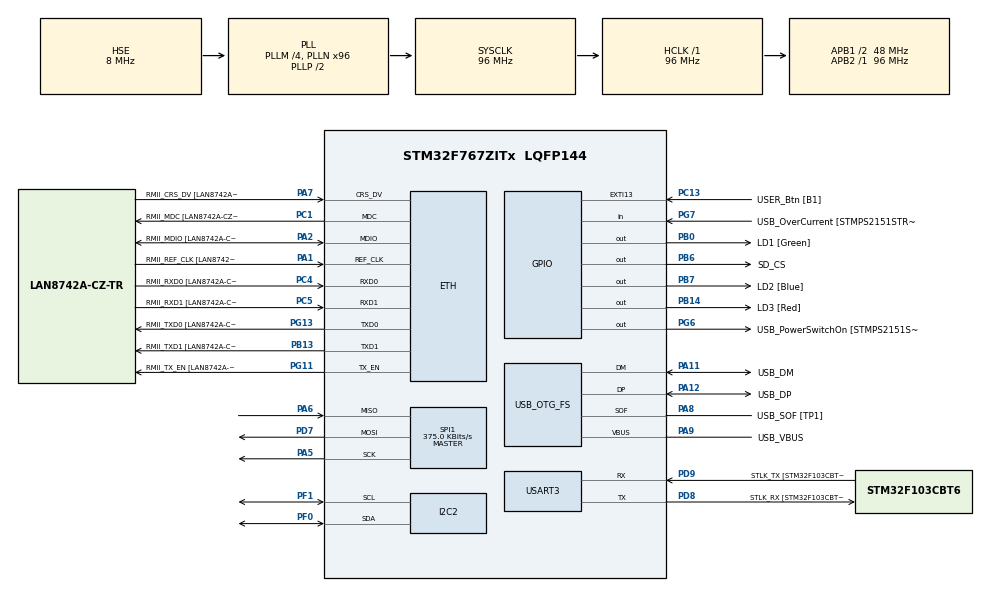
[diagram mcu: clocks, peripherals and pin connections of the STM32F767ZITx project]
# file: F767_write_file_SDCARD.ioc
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CORTEX_M7.default_mode_Activation=1
ETH.MediaInterface=HAL_ETH_RMII_MODE
ETH.PHY_Name=LAN8742A_PHY_ADDRESS
ETH.PHY_Value=0
ETH.PhyAddress=0
I2C2.Timing=0x20303E5D
Mcu.Family=STM32F7
Mcu.Name=STM32F767ZITx
Mcu.Package=LQFP144
NVIC.PriorityGroup=NVIC_PRIORITYGROUP_4
PA1.GPIO_Label=RMII_REF_CLK [LAN8742A-CZ-TR_REFCLK0]
PA1.Mode=RMII
PA1.Signal=ETH_REF_CLK
PA10.GPIO_Label=USB_ID
PA10.Signal=USB_OTG_FS_ID
PA11.GPIO_Label=USB_DM
PA11.Mode=Device_Only
PA11.Signal=USB_OTG_FS_DM
PA12.GPIO_Label=USB_DP
PA12.Mode=Device_Only
PA12.Signal=USB_OTG_FS_DP
PA13.GPIO_Label=TMS
PA13.Mode=Serial_Wire
PA13.Signal=SYS_JTMS-SWDIO
PA14.GPIO_Label=TCK
PA14.Mode=Serial_Wire
PA14.Signal=SYS_JTCK-SWCLK
PA2.GPIO_Label=RMII_MDIO [LAN8742A-CZ-TR_MDIO]
PA2.Mode=RMII
PA2.Signal=ETH_MDIO
PA5.Mode=Full_Duplex_Master
PA5.Signal=SPI1_SCK
PA6.Mode=Full_Duplex_Master
PA6.Signal=SPI1_MISO
PA7.GPIO_Label=RMII_CRS_DV [LAN8742A-CZ-TR_CRS_DV]
PA7.Mode=RMII
PA7.Signal=ETH_CRS_DV
PA8.GPIO_Label=USB_SOF [TP1]
PA8.Mode=Activate_SOF_FS
PA8.Signal=USB_OTG_FS_SOF
PA9.GPIO_Label=USB_VBUS
PA9.Mode=Activate_VBUS
PA9.Signal=USB_OTG_FS_VBUS
PB0.GPIO_Label=LD1 [Green]
PB0.Signal=GPIO_Output
PB13.GPIO_Label=RMII_TXD1 [LAN8742A-CZ-TR_TXD1]
PB13.Mode=RMII
PB13.Signal=ETH_TXD1
PB14.GPIO_Label=LD3 [Red]
PB14.Signal=GPIO_Output
PB3.GPIO_Label=SWO
PB3.Signal=SYS_JTDO-SWO
PB6.GPIO_Label=SD_CS
PB6.PinState=GPIO_PIN_SET
PB6.Signal=GPIO_Output
PB7.GPIO_Label=LD2 [Blue]
PB7.Signal=GPIO_Output
PC1.GPIO_Label=RMII_MDC [LAN8742A-CZ-TR_MDC]
PC1.Mode=RMII
PC1.Signal=ETH_MDC
PC13.GPIO_Label=USER_Btn [B1]
PC13.Signal=GPXTI13
PC14/OSC32_IN.Mode=LSE-External-Oscillator
PC14/OSC32_IN.Signal=RCC_OSC32_IN
PC15/OSC32_OUT.Mode=LSE-External-Oscillator
PC15/OSC32_OUT.Signal=RCC_OSC32_OUT
PC4.GPIO_Label=RMII_RXD0 [LAN8742A-CZ-TR_RXD0]
PC4.Mode=RMII
PC4.Signal=ETH_RXD0
PC5.GPIO_Label=RMII_RXD1 [LAN8742A-CZ-TR_RXD1]
PC5.Mode=RMII
PC5.Signal=ETH_RXD1
PD7.Mode=Full_Duplex_Master
PD7.Signal=SPI1_MOSI
PD8.GPIO_Label=STLK_RX [STM32F103CBT6_PA3]
PD8.Mode=Asynchronous
PD8.Signal=USART3_TX
PD9.GPIO_Label=STLK_TX [STM32F103CBT6_PA2]
PD9.Mode=Asynchronous
PD9.Signal=USART3_RX
PF0.Mode=I2C
PF0.Signal=I2C2_SDA
PF1.Mode=I2C
PF1.Signal=I2C2_SCL
PG11.GPIO_Label=RMII_TX_EN [LAN8742A-CZ-TR_TXEN]
PG11.Mode=RMII
PG11.Signal=ETH_TX_EN
PG13.GPIO_Label=RMII_TXD0 [LAN8742A-CZ-TR_TXD0]
PG13.Mode=RMII
PG13.Signal=ETH_TXD0
PG6.GPIO_Label=USB_PowerSwitchOn [STMPS2151STR_EN]
PG6.Signal=GPIO_Output
PG7.GPIO_Label=USB_OverCurrent [STMPS2151STR_FAULT]
PG7.Signal=GPIO_Input
PH0/OSC_IN.GPIO_Label=MCO [STM32F103CBT6_PA8]
PH0/OSC_IN.Mode=HSE-External-Clock-Source
PH0/OSC_IN.Signal=RCC_OSC_IN
PH1/OSC_OUT.Mode=HSE-External-Clock-Source
PH1/OSC_OUT.Signal=RCC_OSC_OUT
ProjectManager.HeapSize=0x200
ProjectManager.StackSize=0x400
ProjectManager.TargetToolchain=STM32CubeIDE
RCC.48MHZClocksFreq_Value=24000000
RCC.AHBFreq_Value=96000000
RCC.APB1CLKDivider=RCC_HCLK_DIV2
RCC.APB1Freq_Value=48000000
RCC.APB1TimFreq_Value=96000000
RCC.APB2Freq_Value=96000000
RCC.APB2TimFreq_Value=96000000
RCC.CortexFreq_Value=96000000
RCC.HCLKFreq_Value=96000000
RCC.HSE_VALUE=8000000
RCC.HSI_VALUE=16000000
RCC.PLLM=4
RCC.PLLMUL=RCC_PLL_MUL9
RCC.PLLN=96
RCC.PLLQ=4
RCC.PRESCALERUSB=RCC_USBCLKSOURCE_PLL_DIV1_5
RCC.SYSCLKFreq_VALUE=96000000
RCC.SYSCLKSource=RCC_SYSCLKSOURCE_PLLCLK
RCC.SYSCLKSourceVirtual=RCC_SYSCLKSOURCE_PLLCLK
RCC.USBFreq_Value=48000000
RCC.VCOOutputFreq_Value=192000000
SPI1.BaudRatePrescaler=SPI_BAUDRATEPRESCALER_256
SPI1.CalculateBaudRate=375.0 KBits/s
SPI1.DataSize=SPI_DATASIZE_8BIT
SPI1.Direction=SPI_DIRECTION_2LINES
SPI1.Mode=SPI_MODE_MASTER
SPI1.VirtualType=VM_MASTER
USART3.VirtualMode-Asynchronous=VM_ASYNC
USB_OTG_FS.VirtualMode=Device_Only
VP_FATFS_VS_Generic.Mode=User_defined
board=NUCLEO-F767ZI

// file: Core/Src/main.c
/* USER CODE BEGIN Header */
/* F767_write_file_SDCARD */
/**
  ******************************************************************************
  * @file           : main.c
  * @brief          : Main program body
  ******************************************************************************
  * @attention
  *
  * Copyright (c) 2026 STMicroelectronics.
  * All rights reserved.
  *
  * This software is licensed under terms that can be found in the LICENSE file
  * in the root directory of this software component.
  * If no LICENSE file comes with this software, it is provided AS-IS.
  *
  ******************************************************************************
  */
/* USER CODE END Header */
#include "main.h"
#include "string.h"
#include "fatfs.h"

/* USER CODE BEGIN Includes */
#include "fatfs.h"
#include <stdio.h>
#include <string.h>
#include <stdint.h>
/* USER CODE END Includes */

#if defined ( __ICCARM__ ) /*!< IAR Compiler */
#pragma location=0x2007c000
ETH_DMADescTypeDef  DMARxDscrTab[ETH_RX_DESC_CNT]; /* Ethernet Rx DMA Descriptors */
#pragma location=0x2007c0a0
ETH_DMADescTypeDef  DMATxDscrTab[ETH_TX_DESC_CNT]; /* Ethernet Tx DMA Descriptors */

#elif defined ( __CC_ARM )  /* MDK ARM Compiler */

__attribute__((at(0x2007c000))) ETH_DMADescTypeDef  DMARxDscrTab[ETH_RX_DESC_CNT]; /* Ethernet Rx DMA Descriptors */
__attribute__((at(0x2007c0a0))) ETH_DMADescTypeDef  DMATxDscrTab[ETH_TX_DESC_CNT]; /* Ethernet Tx DMA Descriptors */

#elif defined ( __GNUC__ ) /* GNU Compiler */

ETH_DMADescTypeDef DMARxDscrTab[ETH_RX_DESC_CNT] __attribute__((section(".RxDecripSection"))); /* Ethernet Rx DMA Descriptors */
ETH_DMADescTypeDef DMATxDscrTab[ETH_TX_DESC_CNT] __attribute__((section(".TxDecripSection")));   /* Ethernet Tx DMA Descriptors */
#endif

ETH_TxPacketConfig TxConfig;

ETH_HandleTypeDef heth;

I2C_HandleTypeDef hi2c2;

SPI_HandleTypeDef hspi1;

UART_HandleTypeDef huart3;

PCD_HandleTypeDef hpcd_USB_OTG_FS;

/* USER CODE BEGIN PV */
FATFS fs;
FIL file;
FRESULT fres;

char uart_msg[128];
char csv_line[128];

uint32_t log_index = 0;
uint32_t last_write_time = 0;
/* USER CODE END PV */

void SystemClock_Config(void);
static void MPU_Config(void);
static void MX_GPIO_Init(void);
static void MX_ETH_Init(void);
static void MX_I2C2_Init(void);
static void MX_SPI1_Init(void);
static void MX_USART3_UART_Init(void);
static void MX_USB_OTG_FS_PCD_Init(void);
/* USER CODE BEGIN PFP */
void UART3_Print(char *msg);
void SD_Test_Write(void);
/* USER CODE END PFP */

int main(void)
{

  /* MPU Configuration--------------------------------------------------------*/
  MPU_Config();

  /* MCU Configuration--------------------------------------------------------*/

  /* Reset of all peripherals, Initializes the Flash interface and the Systick. */
  HAL_Init();

  /* Configure the system clock */
  SystemClock_Config();

  /* Initialize all configured peripherals */
  MX_GPIO_Init();
  MX_ETH_Init();
  MX_I2C2_Init();
  MX_SPI1_Init();
  MX_USART3_UART_Init();
  MX_USB_OTG_FS_PCD_Init();
  MX_FATFS_Init();

  /* Infinite loop */
  /* USER CODE BEGIN WHILE */
  while (1)
  {
    uint32_t now = HAL_GetTick();

    if (now - last_write_time >= 10000)
    {
      last_write_time = now;
      SD_Test_Write();
    } // end if
    /* USER CODE END WHILE */

  }
}

void SystemClock_Config(void)
{
  RCC_OscInitTypeDef RCC_OscInitStruct = {0};
  RCC_ClkInitTypeDef RCC_ClkInitStruct = {0};

  /** Configure LSE Drive Capability
  */
  HAL_PWR_EnableBkUpAccess();

  /** Configure the main internal regulator output voltage
  */
  __HAL_RCC_PWR_CLK_ENABLE();
  __HAL_PWR_VOLTAGESCALING_CONFIG(PWR_REGULATOR_VOLTAGE_SCALE3);

  /** Initializes the RCC Oscillators according to the specified parameters
  * in the RCC_OscInitTypeDef structure.
  */
  RCC_OscInitStruct.OscillatorType = RCC_OSCILLATORTYPE_HSE;
  RCC_OscInitStruct.HSEState = RCC_HSE_BYPASS;
  RCC_OscInitStruct.PLL.PLLState = RCC_PLL_ON;
  RCC_OscInitStruct.PLL.PLLSource = RCC_PLLSOURCE_HSE;
  RCC_OscInitStruct.PLL.PLLM = 4;
  RCC_OscInitStruct.PLL.PLLN = 96;
  RCC_OscInitStruct.PLL.PLLP = RCC_PLLP_DIV2;
  RCC_OscInitStruct.PLL.PLLQ = 4;
  RCC_OscInitStruct.PLL.PLLR = 2;
  if (HAL_RCC_OscConfig(&RCC_OscInitStruct) != HAL_OK)
  {
    Error_Handler();
  }

  /** Activate the Over-Drive mode
  */
  if (HAL_PWREx_EnableOverDrive() != HAL_OK)
  {
    Error_Handler();
  }

  /** Initializes the CPU, AHB and APB buses clocks
  */
  RCC_ClkInitStruct.ClockType = RCC_CLOCKTYPE_HCLK|RCC_CLOCKTYPE_SYSCLK
                              |RCC_CLOCKTYPE_PCLK1|RCC_CLOCKTYPE_PCLK2;
  RCC_ClkInitStruct.SYSCLKSource = RCC_SYSCLKSOURCE_PLLCLK;
  RCC_ClkInitStruct.AHBCLKDivider = RCC_SYSCLK_DIV1;
  RCC_ClkInitStruct.APB1CLKDivider = RCC_HCLK_DIV2;
  RCC_ClkInitStruct.APB2CLKDivider = RCC_HCLK_DIV1;

  if (HAL_RCC_ClockConfig(&RCC_ClkInitStruct, FLASH_LATENCY_3) != HAL_OK)
  {
    Error_Handler();
  }
}

static void MX_ETH_Init(void)
{

   static uint8_t MACAddr[6];

  heth.Instance = ETH;
  MACAddr[0] = 0x00;
  MACAddr[1] = 0x80;
  MACAddr[2] = 0xE1;
  MACAddr[3] = 0x00;
  MACAddr[4] = 0x00;
  MACAddr[5] = 0x00;
  heth.Init.MACAddr = &MACAddr[0];
  heth.Init.MediaInterface = HAL_ETH_RMII_MODE;
  heth.Init.TxDesc = DMATxDscrTab;
  heth.Init.RxDesc = DMARxDscrTab;
  heth.Init.RxBuffLen = 1524;

  if (HAL_ETH_Init(&heth) != HAL_OK)
  {
    Error_Handler();
  }

  memset(&TxConfig, 0 , sizeof(ETH_TxPacketConfig));
  TxConfig.Attributes = ETH_TX_PACKETS_FEATURES_CSUM | ETH_TX_PACKETS_FEATURES_CRCPAD;
  TxConfig.ChecksumCtrl = ETH_CHECKSUM_IPHDR_PAYLOAD_INSERT_PHDR_CALC;
  TxConfig.CRCPadCtrl = ETH_CRC_PAD_INSERT;

}

static void MX_I2C2_Init(void)
{

  hi2c2.Instance = I2C2;
  hi2c2.Init.Timing = 0x20303E5D;
  hi2c2.Init.OwnAddress1 = 0;
  hi2c2.Init.AddressingMode = I2C_ADDRESSINGMODE_7BIT;
  hi2c2.Init.DualAddressMode = I2C_DUALADDRESS_DISABLE;
  hi2c2.Init.OwnAddress2 = 0;
  hi2c2.Init.OwnAddress2Masks = I2C_OA2_NOMASK;
  hi2c2.Init.GeneralCallMode = I2C_GENERALCALL_DISABLE;
  hi2c2.Init.NoStretchMode = I2C_NOSTRETCH_DISABLE;
  if (HAL_I2C_Init(&hi2c2) != HAL_OK)
  {
    Error_Handler();
  }

  /** Configure Analogue filter
  */
  if (HAL_I2CEx_ConfigAnalogFilter(&hi2c2, I2C_ANALOGFILTER_ENABLE) != HAL_OK)
  {
    Error_Handler();
  }

  /** Configure Digital filter
  */
  if (HAL_I2CEx_ConfigDigitalFilter(&hi2c2, 0) != HAL_OK)
  {
    Error_Handler();
  }

}

static void MX_SPI1_Init(void)
{

  /* SPI1 parameter configuration*/
  hspi1.Instance = SPI1;
  hspi1.Init.Mode = SPI_MODE_MASTER;
  hspi1.Init.Direction = SPI_DIRECTION_2LINES;
  hspi1.Init.DataSize = SPI_DATASIZE_8BIT;
  hspi1.Init.CLKPolarity = SPI_POLARITY_LOW;
  hspi1.Init.CLKPhase = SPI_PHASE_1EDGE;
  hspi1.Init.NSS = SPI_NSS_SOFT;
  hspi1.Init.BaudRatePrescaler = SPI_BAUDRATEPRESCALER_256;
  hspi1.Init.FirstBit = SPI_FIRSTBIT_MSB;
  hspi1.Init.TIMode = SPI_TIMODE_DISABLE;
  hspi1.Init.CRCCalculation = SPI_CRCCALCULATION_DISABLE;
  hspi1.Init.CRCPolynomial = 7;
  hspi1.Init.CRCLength = SPI_CRC_LENGTH_DATASIZE;
  hspi1.Init.NSSPMode = SPI_NSS_PULSE_ENABLE;
  if (HAL_SPI_Init(&hspi1) != HAL_OK)
  {
    Error_Handler();
  }

}

static void MX_USART3_UART_Init(void)
{

  huart3.Instance = USART3;
  huart3.Init.BaudRate = 115200;
  huart3.Init.WordLength = UART_WORDLENGTH_8B;
  huart3.Init.StopBits = UART_STOPBITS_1;
  huart3.Init.Parity = UART_PARITY_NONE;
  huart3.Init.Mode = UART_MODE_TX_RX;
  huart3.Init.HwFlowCtl = UART_HWCONTROL_NONE;
  huart3.Init.OverSampling = UART_OVERSAMPLING_16;
  huart3.Init.OneBitSampling = UART_ONE_BIT_SAMPLE_DISABLE;
  huart3.AdvancedInit.AdvFeatureInit = UART_ADVFEATURE_NO_INIT;
  if (HAL_UART_Init(&huart3) != HAL_OK)
  {
    Error_Handler();
  }

}

static void MX_USB_OTG_FS_PCD_Init(void)
{

  hpcd_USB_OTG_FS.Instance = USB_OTG_FS;
  hpcd_USB_OTG_FS.Init.dev_endpoints = 6;
  hpcd_USB_OTG_FS.Init.speed = PCD_SPEED_FULL;
  hpcd_USB_OTG_FS.Init.dma_enable = DISABLE;
  hpcd_USB_OTG_FS.Init.phy_itface = PCD_PHY_EMBEDDED;
  hpcd_USB_OTG_FS.Init.Sof_enable = ENABLE;
  hpcd_USB_OTG_FS.Init.low_power_enable = DISABLE;
  hpcd_USB_OTG_FS.Init.lpm_enable = DISABLE;
  hpcd_USB_OTG_FS.Init.vbus_sensing_enable = ENABLE;
  hpcd_USB_OTG_FS.Init.use_dedicated_ep1 = DISABLE;
  if (HAL_PCD_Init(&hpcd_USB_OTG_FS) != HAL_OK)
  {
    Error_Handler();
  }

}

static void MX_GPIO_Init(void)
{
  GPIO_InitTypeDef GPIO_InitStruct = {0};

  /* GPIO Ports Clock Enable */
  __HAL_RCC_GPIOC_CLK_ENABLE();
  __HAL_RCC_GPIOF_CLK_ENABLE();
  __HAL_RCC_GPIOH_CLK_ENABLE();
  __HAL_RCC_GPIOA_CLK_ENABLE();
  __HAL_RCC_GPIOB_CLK_ENABLE();
  __HAL_RCC_GPIOD_CLK_ENABLE();
  __HAL_RCC_GPIOG_CLK_ENABLE();

  /*Configure GPIO pin Output Level */
  HAL_GPIO_WritePin(GPIOB, LD1_Pin|LD3_Pin|LD2_Pin, GPIO_PIN_RESET);

  /*Configure GPIO pin Output Level */
  HAL_GPIO_WritePin(USB_PowerSwitchOn_GPIO_Port, USB_PowerSwitchOn_Pin, GPIO_PIN_RESET);

  /*Configure GPIO pin Output Level */
  HAL_GPIO_WritePin(SD_CS_GPIO_Port, SD_CS_Pin, GPIO_PIN_SET);

  /*Configure GPIO pin : USER_Btn_Pin */
  GPIO_InitStruct.Pin = USER_Btn_Pin;
  GPIO_InitStruct.Mode = GPIO_MODE_IT_RISING;
  GPIO_InitStruct.Pull = GPIO_NOPULL;
  HAL_GPIO_Init(USER_Btn_GPIO_Port, &GPIO_InitStruct);

  /*Configure GPIO pins : LD1_Pin LD3_Pin SD_CS_Pin LD2_Pin */
  GPIO_InitStruct.Pin = LD1_Pin|LD3_Pin|SD_CS_Pin|LD2_Pin;
  GPIO_InitStruct.Mode = GPIO_MODE_OUTPUT_PP;
  GPIO_InitStruct.Pull = GPIO_NOPULL;
  GPIO_InitStruct.Speed = GPIO_SPEED_FREQ_LOW;
  HAL_GPIO_Init(GPIOB, &GPIO_InitStruct);

  /*Configure GPIO pin : USB_PowerSwitchOn_Pin */
  GPIO_InitStruct.Pin = USB_PowerSwitchOn_Pin;
  GPIO_InitStruct.Mode = GPIO_MODE_OUTPUT_PP;
  GPIO_InitStruct.Pull = GPIO_NOPULL;
  GPIO_InitStruct.Speed = GPIO_SPEED_FREQ_LOW;
  HAL_GPIO_Init(USB_PowerSwitchOn_GPIO_Port, &GPIO_InitStruct);

  /*Configure GPIO pin : USB_OverCurrent_Pin */
  GPIO_InitStruct.Pin = USB_OverCurrent_Pin;
  GPIO_InitStruct.Mode = GPIO_MODE_INPUT;
  GPIO_InitStruct.Pull = GPIO_NOPULL;
  HAL_GPIO_Init(USB_OverCurrent_GPIO_Port, &GPIO_InitStruct);

}

/* USER CODE BEGIN 4 */
void UART3_Print(char *msg)
{
  HAL_UART_Transmit(&huart3 , (uint8_t *)msg , strlen(msg) , 100);
} // end function UART3_Print

void SD_Test_Write(void)
{
  UINT bw;
  fres = f_mount(&fs , "" , 1);

  if (fres != FR_OK)
  {
    snprintf(uart_msg , sizeof(uart_msg) , "SD mount ERROR: %d\r\n" , fres);
    UART3_Print(uart_msg);
    return;
  } // end if

  fres = f_open(&file , "raw_log.csv" , FA_OPEN_ALWAYS | FA_WRITE);

  if (fres != FR_OK)
  {
    snprintf(uart_msg , sizeof(uart_msg) , "File open ERROR: %d\r\n" , fres);
    UART3_Print(uart_msg);
    f_mount(NULL , "" , 1);
    return;
  } // end if

  if (f_size(&file) == 0)
  {
    char header[] = "index,time_ms,ax,ay,az,gx,gy,gz,temp\r\n";
    f_write(&file , header , strlen(header) , &bw);
  } // end if

  f_lseek(&file , f_size(&file));

  log_index++;
  snprintf(csv_line , sizeof(csv_line) , "%lu,%lu,0.1,0.2,0.3,1.1,1.2,1.3,30\r\n" , log_index , HAL_GetTick());

  fres = f_write(&file , csv_line , strlen(csv_line) , &bw);

  if (fres == FR_OK && bw == strlen(csv_line))
  {
    f_sync(&file);

    snprintf(uart_msg , sizeof(uart_msg) , "Write OK: %s" , csv_line);
    UART3_Print(uart_msg);
  } // end if
  else
  {
    snprintf(uart_msg , sizeof(uart_msg) , "Write ERROR: fres=%d bw=%u\r\n" , fres , bw);
    UART3_Print(uart_msg);
  } // end else

  f_close(&file);
  f_mount(NULL , "" , 1);
} // end function SD_Test_Write
/* USER CODE END 4 */

 /* MPU Configuration */

void MPU_Config(void)
{
  MPU_Region_InitTypeDef MPU_InitStruct = {0};

  /* Disables the MPU */
  HAL_MPU_Disable();

  /** Initializes and configures the Region and the memory to be protected
  */
  MPU_InitStruct.Enable = MPU_REGION_ENABLE;
  MPU_InitStruct.Number = MPU_REGION_NUMBER0;
  MPU_InitStruct.BaseAddress = 0x0;
  MPU_InitStruct.Size = MPU_REGION_SIZE_4GB;
  MPU_InitStruct.SubRegionDisable = 0x87;
  MPU_InitStruct.TypeExtField = MPU_TEX_LEVEL0;
  MPU_InitStruct.AccessPermission = MPU_REGION_NO_ACCESS;
  MPU_InitStruct.DisableExec = MPU_INSTRUCTION_ACCESS_DISABLE;
  MPU_InitStruct.IsShareable = MPU_ACCESS_SHAREABLE;
  MPU_InitStruct.IsCacheable = MPU_ACCESS_NOT_CACHEABLE;
  MPU_InitStruct.IsBufferable = MPU_ACCESS_NOT_BUFFERABLE;

  HAL_MPU_ConfigRegion(&MPU_InitStruct);
  /* Enables the MPU */
  HAL_MPU_Enable(MPU_PRIVILEGED_DEFAULT);

}

void Error_Handler(void)
{
  __disable_irq();
  while (1)
  {
  }
}
